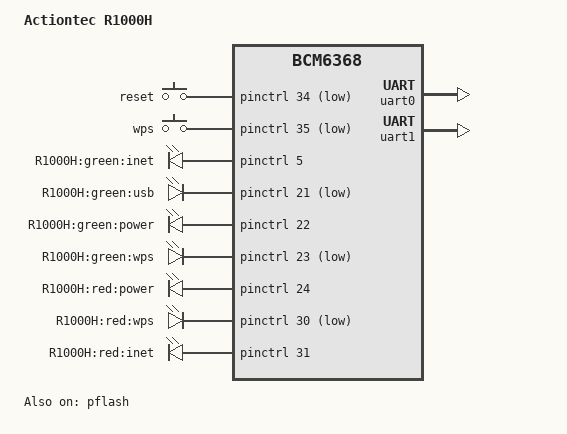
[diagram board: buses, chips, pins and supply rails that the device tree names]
/dts-v1/;

#include "bcm6368.dtsi"

#include <dt-bindings/input/input.h>

/ {
	model = "Actiontec R1000H";
	compatible = "actiontec,r1000h", "brcm,bcm6368";

	chosen {
		bootargs = "rootfstype=squashfs noinitrd console=ttyS0,115200";
		stdout-path = "serial0:115200n8";
	};

	gpio-keys-polled {
		compatible = "gpio-keys-polled";
		#address-cells = <1>;
		#size-cells = <0>;
		poll-interval = <20>;
		debounce-interval = <60>;

		reset {
			label = "reset";
			gpios = <&pinctrl 34 1>;
			linux,code = <KEY_RESTART>;
		};

		wps {
			label = "wps";
			gpios = <&pinctrl 35 1>;
			linux,code = <KEY_WPS_BUTTON>;
		};
	};

	gpio-leds {
		compatible = "gpio-leds";

		inet_green {
			label = "R1000H:green:inet";
			gpios = <&pinctrl 5 0>;
		};

		usb_green {
			label = "R1000H:green:usb";
			gpios = <&pinctrl 21 1>;
		};

		power_green {
			label = "R1000H:green:power";
			gpios = <&pinctrl 22 0>;
			default-state = "on";
		};

		wps_green {
			label = "R1000H:green:wps";
			gpios = <&pinctrl 23 1>;
		};

		power_red {
			label = "R1000H:red:power";
			gpios = <&pinctrl 24 0>;
		};

		wps_red {
			label = "R1000H:red:wps";
			gpios = <&pinctrl 30 1>;
		};

		inet_red {
			label = "R1000H:red:inet";
			gpios = <&pinctrl 31 0>;
		};
	};
};

&pflash {
	status = "ok";

	partitions {
		compatible = "fixed-partitions";
		#address-cells = <1>;
		#size-cells = <1>;

		CFE@0 {
			reg = <0x000000 0x020000>;
			read-only;
		};

		linux@20000 {
			reg = <0x020000 0x1fc0000>;
			compatible = "brcm,bcm963xx-imagetag";
		};

		nvram@1fe0000 {
			reg = <0x1fe0000 0x20000>;
		};
	};
};

&uart0 {
	status = "ok";
};

&uart1 {
	status = "ok";
};
